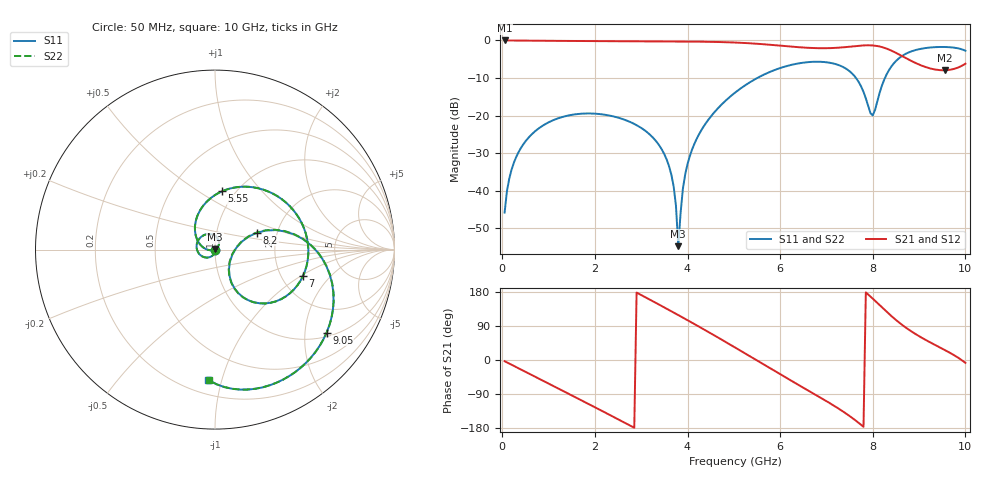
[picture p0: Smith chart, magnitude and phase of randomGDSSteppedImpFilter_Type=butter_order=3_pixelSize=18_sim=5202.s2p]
! freq	dB(S11)	phase(S11)	dB(S12)	phase(S12)
!  dB(S21)	phase(S21)	dB(S22)	phase(S22)
!S-par simulation data
#  GHz  S  DB  R 50
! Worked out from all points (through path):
!   200 points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, 50 MHz to 10 GHz, reference 50 ohm
!   highest |S21| = -0.02 dB at 50 MHz (marker M1); lowest = -7.9 dB at 9.55 GHz (marker M2)
!   group delay of S21, straight-line fit = 203 ps
!   lowest |S11| = -54.7 dB at 3.8 GHz (marker M3), VSWR 1.00, Z = 50 + j0.183 ohm
!   |S11| at or under -10 dB: start of sweep to 5.507 GHz; 7.637 GHz to 8.263 GHz (626.1 MHz wide, 7.88 % of centre)
!   |S22| runs from -55.6 to -1.7 dB; largest |S21 - S12| = 0
!   S11 on the Smith chart (normalised r, x): 50 MHz: 1.00, -0.01; 5.55 GHz: 0.87, +0.63; 7 GHz: 2.62, -1.04; 8.2 GHz: 1.57, +0.32; 9.05 GHz: 1.12, -2.59; 10 GHz: 0.29, -0.91
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0.05  -45.78 -72.7  -0.02 -3.2  -0.02 -3.2  -45.78 -72.7
0.2  -34.38 -97.1  -0.04 -12.5  -0.04 -12.5  -34.38 -97.1
0.5  -26.86 -120.2  -0.06 -31.2  -0.06 -31.2  -26.86 -120.2
1.15  -20.97 -162.3  -0.13 -71.6  -0.13 -71.6  -20.97 -162.3
1.75  -19.47 159.8  -0.18 -109.0  -0.18 -109.0  -19.47 159.8
2.6  -20.92 106.1  -0.23 -162.8  -0.23 -162.8  -20.92 106.0
3.4  -28.13 55.2  -0.27 145.3  -0.27 145.3  -28.13 55.0
3.7  -38.82 40.9  -0.29 125.3  -0.29 125.3  -38.83 39.9
3.8  -54.72 93.7  -0.29 118.6  -0.29 118.6  -55.61 90.8
3.9  -39.44 -169.3  -0.30 111.8  -0.30 111.8  -39.47 -168.1
4.1  -28.96 -176.7  -0.32 98.2  -0.32 98.2  -28.97 -176.4
5.05  -13.66 119.0  -0.59 31.3  -0.59 31.3  -13.66 119.0
5.55  -9.72 83.3  -0.94 -5.0  -0.94 -5.0  -9.72 83.3
6.7  -5.70 3.4  -2.03 -87.2  -2.03 -87.2  -5.70 3.4
7  -5.82 -16.7  -2.08 -108.6  -2.08 -108.6  -5.82 -16.7
7.6  -9.42 -56.6  -1.55 -156.8  -1.55 -156.8  -9.43 -56.8
8  -19.95 -16.3  -1.35 161.9  -1.35 161.9  -20.11 -16.2
8.2  -11.94 21.9  -1.79 138.8  -1.79 138.8  -11.96 22.3
8.35  -7.91 14.6  -2.44 121.7  -2.44 121.7  -7.92 14.9
9.05  -2.21 -36.6  -6.68 59.3  -6.68 59.3  -2.21 -36.5
9.55  -1.76 -65.2  -7.95 26.6  -7.95 26.6  -1.76 -65.1
10  -2.76 -92.9  -6.20 -7.6  -6.20 -7.6  -2.76 -92.7
